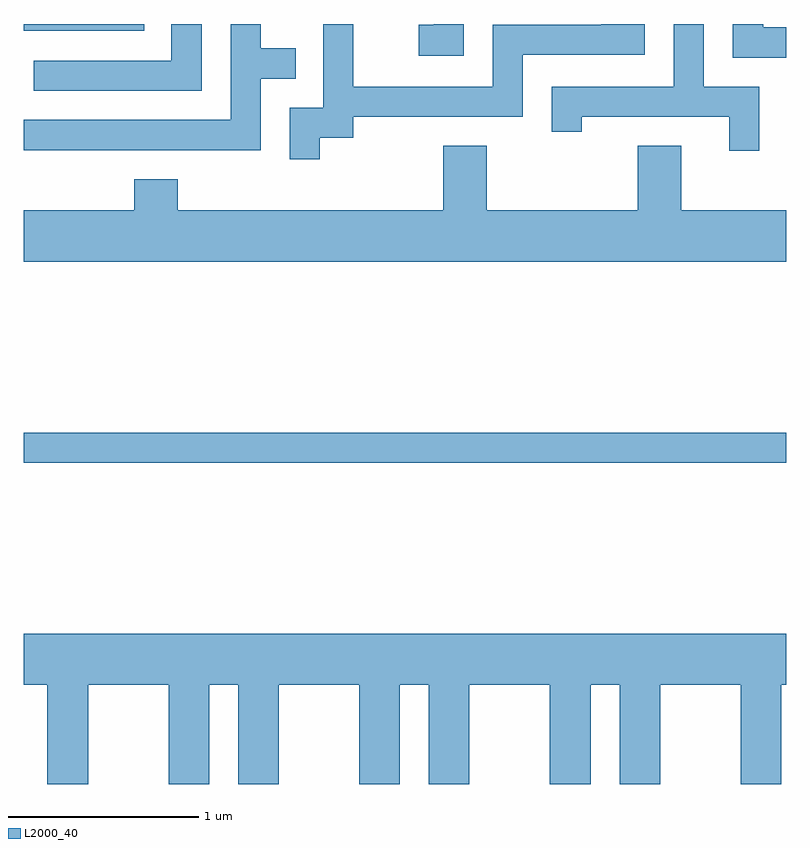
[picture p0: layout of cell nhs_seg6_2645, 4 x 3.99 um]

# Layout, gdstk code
import gdstk
lib = gdstk.Library(unit=1e-6, precision=1e-09)
def R(c, l, rs):  # rectangles x0, y0, x1, y1
    for r in rs: c.add(gdstk.rectangle(r[:2], r[2:], *l))
def P(c, l, *ps):  # polygons
    for p in ps: c.add(gdstk.Polygon(p, *l))
L2000_40 = (2000, 40)

nhs_seg6_2645 = lib.new_cell('nhs_seg6_2645')
R(nhs_seg6_2645, L2000_40, [(265.611,1557.861,269.611,1558.019), (265.611,1560.126,266.243,1560.162)])
P(nhs_seg6_2645, L2000_40, [(266.544,1560.162),(266.386,1560.162),(266.386,1559.969),(265.663,1559.969),(265.663,1559.811),(266.544,1559.811)],
  [(269.469,1559.834),(269.179,1559.834),(269.179,1560.162),(269.021,1560.162),(269.021,1559.834),(268.381,1559.834),(268.381,1559.598),(268.539,1559.598),(268.539,1559.676),(269.311,1559.676),(269.311,1559.498),(269.469,1559.498)],
  [(267.919,1560.162),(267.761,1560.162),(267.761,1560.159),(267.683,1560.159),(267.683,1559.996),(267.919,1559.996)],
  [(269.611,1560.144),(269.489,1560.144),(269.489,1560.162),(269.331,1560.162),(269.331,1559.986),(269.611,1559.986)],
  [(267.164,1559.566),(267.339,1559.566),(267.339,1559.676),(268.229,1559.676),(268.229,1560.001),(268.869,1560.001),(268.869,1560.162),(268.641,1560.162),(268.641,1560.159),(268.071,1560.159),(268.071,1559.834),(267.339,1559.834),(267.339,1560.162),(267.181,1560.162),(267.181,1559.724),(267.006,1559.724),(267.006,1559.453),(267.164,1559.453)],
  [(266.854,1559.876),(267.038,1559.876),(267.038,1560.034),(266.854,1560.034),(266.854,1560.162),(266.696,1560.162),(266.696,1559.659),(265.611,1559.659),(265.611,1559.501),(266.854,1559.501)],
  [(269.611,1559.184),(269.059,1559.184),(269.059,1559.524),(268.831,1559.524),(268.831,1559.184),(268.039,1559.184),(268.039,1559.524),(267.811,1559.524),(267.811,1559.184),(266.419,1559.184),(266.419,1559.349),(266.191,1559.349),(266.191,1559.184),(265.611,1559.184),(265.611,1558.916),(269.611,1558.916)],
  [(265.949,1556.696),(266.371,1556.696),(266.371,1556.176),(266.584,1556.176),(266.584,1556.696),(266.736,1556.696),(266.736,1556.176),(266.949,1556.176),(266.949,1556.696),(267.371,1556.696),(267.371,1556.176),(267.584,1556.176),(267.584,1556.696),(267.736,1556.696),(267.736,1556.176),(267.949,1556.176),(267.949,1556.696),(268.371,1556.696),(268.371,1556.176),(268.584,1556.176),(268.584,1556.696),(268.736,1556.696),(268.736,1556.176),(268.949,1556.176),(268.949,1556.696),(269.371,1556.696),(269.371,1556.176),(269.584,1556.176),(269.584,1556.696),(269.611,1556.696),(269.611,1556.964),(265.611,1556.964),(265.611,1556.696),(265.736,1556.696),(265.736,1556.176),(265.949,1556.176)])

lib.write_gds('nhs_seg6_2645.gds')
